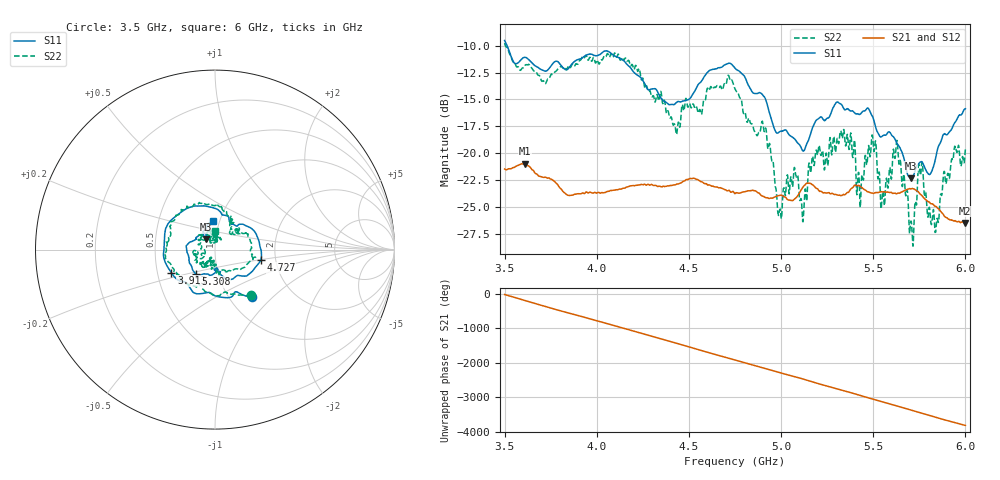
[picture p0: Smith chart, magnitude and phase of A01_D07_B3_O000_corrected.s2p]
! Created with skrf 1.9.0 (http://scikit-rf.org).
# Hz S RI R 50.0
!freq ReS11 ImS11 ReS21 ImS21 ReS12 ImS12 ReS22 ImS22
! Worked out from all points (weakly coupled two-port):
!   1601 points, 3.5 GHz to 6 GHz, reference 50 ohm
!   highest |S21| = -20.98 dB at 3.609 GHz (marker M1); lowest = -26.5 dB at 5.995 GHz (marker M2)
!   lowest |S11| = -22.3 dB at 5.706 GHz (marker M3), VSWR 1.17, Z = 44.9 + j5.14 ohm
!   |S11| at or under -10 dB: 3.514 GHz to end of sweep
!   |S22| runs from -28.6 to -9.8 dB; largest |S21 - S12| = 0.0011
!   S11 on the Smith chart (normalised r, x): 3.5 GHz: 1.27, -0.75; 3.913 GHz: 0.59, -0.17; 4.727 GHz: 1.67, -0.21; 5.308 GHz: 0.78, -0.22; 6 GHz: 0.93, +0.31
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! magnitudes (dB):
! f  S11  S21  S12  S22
! 3.5 GHz  -9.5  -21.5  -21.4  -9.8
! 3.609 GHz  -11.1  -21.0  -21.0  -11.9
! 3.913 GHz  -11.2  -23.8  -23.8  -11.3
! 3.917 GHz  -11.2  -23.8  -23.7  -11.2
! 4.334 GHz  -14.4  -23.1  -23.0  -15.1
! 4.439 GHz  -15.2  -22.9  -22.8  -17.4
! 4.727 GHz  -11.7  -23.6  -23.5  -13.2
! 4.75 GHz  -12.1  -23.8  -23.7  -14.0
! 4.909 GHz  -14.8  -24.1  -24.0  -18.0
! 4.992 GHz  -18.0  -23.9  -23.9  -25.3
! 5.167 GHz  -17.8  -22.9  -22.9  -20.6
! 5.308 GHz  -15.2  -23.9  -23.9  -18.7
! 5.42 GHz  -16.4  -23.0  -23.0  -21.8
! 5.502 GHz  -16.8  -23.7  -23.7  -19.5
! 5.55 GHz  -18.4  -23.6  -23.6  -23.8
! 5.584 GHz  -18.0  -23.6  -23.6  -22.3
! 5.636 GHz  -19.3  -23.7  -23.7  -20.4
! 5.706 GHz  -22.3  -23.3  -23.3  -26.3
! 5.755 GHz  -20.8  -23.8  -23.8  -21.8
! 5.844 GHz  -20.0  -25.0  -25.0  -26.4
! 5.995 GHz  -15.9  -26.5  -26.4  -20.6
! 6 GHz  -15.9  -26.4  -26.4  -19.6
